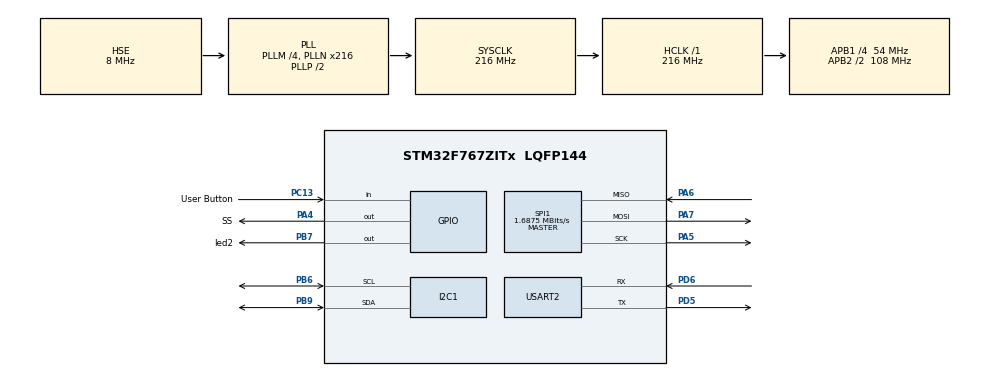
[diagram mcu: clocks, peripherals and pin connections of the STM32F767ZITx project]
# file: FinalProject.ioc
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Dma.Request0=USART2_TX
Dma.Request1=SPI1_RX
Dma.Request2=SPI1_TX
Dma.SPI1_RX.1.Direction=DMA_PERIPH_TO_MEMORY
Dma.SPI1_RX.1.FIFOMode=DMA_FIFOMODE_DISABLE
Dma.SPI1_RX.1.Instance=DMA2_Stream0
Dma.SPI1_RX.1.MemDataAlignment=DMA_MDATAALIGN_BYTE
Dma.SPI1_RX.1.MemInc=DMA_MINC_ENABLE
Dma.SPI1_RX.1.Mode=DMA_NORMAL
Dma.SPI1_RX.1.PeriphDataAlignment=DMA_PDATAALIGN_BYTE
Dma.SPI1_RX.1.PeriphInc=DMA_PINC_DISABLE
Dma.SPI1_RX.1.Priority=DMA_PRIORITY_LOW
Dma.SPI1_TX.2.Direction=DMA_MEMORY_TO_PERIPH
Dma.SPI1_TX.2.FIFOMode=DMA_FIFOMODE_DISABLE
Dma.SPI1_TX.2.Instance=DMA2_Stream3
Dma.SPI1_TX.2.MemDataAlignment=DMA_MDATAALIGN_BYTE
Dma.SPI1_TX.2.MemInc=DMA_MINC_ENABLE
Dma.SPI1_TX.2.Mode=DMA_NORMAL
Dma.SPI1_TX.2.PeriphDataAlignment=DMA_PDATAALIGN_BYTE
Dma.SPI1_TX.2.PeriphInc=DMA_PINC_DISABLE
Dma.SPI1_TX.2.Priority=DMA_PRIORITY_LOW
Dma.USART2_TX.0.Direction=DMA_MEMORY_TO_PERIPH
Dma.USART2_TX.0.FIFOMode=DMA_FIFOMODE_DISABLE
Dma.USART2_TX.0.Instance=DMA1_Stream6
Dma.USART2_TX.0.MemDataAlignment=DMA_MDATAALIGN_BYTE
Dma.USART2_TX.0.MemInc=DMA_MINC_ENABLE
Dma.USART2_TX.0.Mode=DMA_NORMAL
Dma.USART2_TX.0.PeriphDataAlignment=DMA_PDATAALIGN_BYTE
Dma.USART2_TX.0.PeriphInc=DMA_PINC_DISABLE
Dma.USART2_TX.0.Priority=DMA_PRIORITY_LOW
I2C1.Timing=0x20404768
Mcu.Family=STM32F7
Mcu.Name=STM32F767ZITx
Mcu.Package=LQFP144
NVIC.DMA1_Stream6_IRQn=true\:0\:0\:false\:false\:true\:false\:true
NVIC.DMA2_Stream0_IRQn=true\:0\:0\:false\:false\:true\:false\:true
NVIC.DMA2_Stream3_IRQn=true\:0\:0\:false\:false\:true\:false\:true
NVIC.PriorityGroup=NVIC_PRIORITYGROUP_4
NVIC.USART2_IRQn=true\:0\:0\:false\:false\:true\:true\:true
PA4.GPIO_Label=SS
PA4.Signal=GPIO_Output
PA5.Mode=Full_Duplex_Master
PA5.Signal=SPI1_SCK
PA6.Mode=Full_Duplex_Master
PA6.Signal=SPI1_MISO
PA7.Mode=Full_Duplex_Master
PA7.Signal=SPI1_MOSI
PB6.Mode=I2C
PB6.Signal=I2C1_SCL
PB7.GPIO_Label=led2
PB7.Signal=GPIO_Output
PB9.Mode=I2C
PB9.Signal=I2C1_SDA
PC13.GPIO_Label=User Button
PC13.Signal=GPIO_Input
PD5.Mode=Asynchronous
PD5.Signal=USART2_TX
PD6.Mode=Asynchronous
PD6.Signal=USART2_RX
PH0/OSC_IN.Mode=HSE-External-Oscillator
PH0/OSC_IN.Signal=RCC_OSC_IN
PH1/OSC_OUT.Mode=HSE-External-Oscillator
PH1/OSC_OUT.Signal=RCC_OSC_OUT
ProjectManager.HeapSize=0x200
ProjectManager.StackSize=0x400
ProjectManager.TargetToolchain=MDK-ARM V5.32
RCC.AHBFreq_Value=216000000
RCC.APB1CLKDivider=RCC_HCLK_DIV4
RCC.APB1Freq_Value=54000000
RCC.APB1TimFreq_Value=108000000
RCC.APB2CLKDivider=RCC_HCLK_DIV2
RCC.APB2Freq_Value=108000000
RCC.APB2TimFreq_Value=216000000
RCC.CortexFreq_Value=216000000
RCC.HCLKFreq_Value=216000000
RCC.HSE_VALUE=8000000
RCC.HSI_VALUE=16000000
RCC.LSE_VALUE=32768
RCC.PLLM=4
RCC.PLLN=216
RCC.PLLSourceVirtual=RCC_PLLSOURCE_HSE
RCC.SYSCLKFreq_VALUE=216000000
RCC.SYSCLKSource=RCC_SYSCLKSOURCE_PLLCLK
RCC.USBFreq_Value=216000000
RCC.VCOOutputFreq_Value=432000000
SPI1.BaudRatePrescaler=SPI_BAUDRATEPRESCALER_64
SPI1.CalculateBaudRate=1.6875 MBits/s
SPI1.DataSize=SPI_DATASIZE_8BIT
SPI1.Direction=SPI_DIRECTION_2LINES
SPI1.Mode=SPI_MODE_MASTER
SPI1.VirtualType=VM_MASTER
USART2.VirtualMode-Asynchronous=VM_ASYNC
board=custom

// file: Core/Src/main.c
/* USER CODE BEGIN Header */
/**
  ******************************************************************************
  * @file           : main.c
  * @brief Основной файл программы, включающий в себя функции инициализации периферии, основной цикл программы и обработку данных.
  *
  * Этот файл содержит в себе основной цикл программы, инициализацию всех необходимых периферийных устройств и обработку данных,
  * получаемых от акселерометра ADXL362 и передачу данных по UART.
  */
/* USER CODE END Header */
#include "main.h"

/* USER CODE BEGIN Includes */
#include "ADXL362.h"
#include "ssd1306.h"
#include "ssd1306_fonts.h"
#include <stdlib.h>
/* USER CODE END Includes */

/* USER CODE BEGIN PD */
///Размер буфера для передачи по UART
#define UART_TX_BUFFER_SIZE  7

/* USER CODE END PD */

I2C_HandleTypeDef hi2c1;

SPI_HandleTypeDef hspi1;
DMA_HandleTypeDef hdma_spi1_rx;
DMA_HandleTypeDef hdma_spi1_tx;

UART_HandleTypeDef huart2;
DMA_HandleTypeDef hdma_usart2_tx;

/* USER CODE BEGIN PV */

/// Флаг успешной передачи данных по SPI (передача завершена). Объявлена в файле ADXL362.c
extern bool spiTxComplete;
/// Флаг успешного приема данных по SPI (прием завершен). Объявлена в файле ADXL362.c
extern bool spiRxComplete;
/// Флаг успешной передачи данных оп UART.
bool uartTxComplete = false;

uint8_t rightXOut[] = {82, 73, 71, 72, 84, 00};
uint8_t leftXOut[] = {76, 69, 70, 84, 00, 00};
uint8_t upYOut[] = {89, 32, 85, 80, 00, 00};
uint8_t downYOut[] = {89, 32, 68, 79, 87, 78};
uint8_t upZOut[] = {90, 32, 85, 80, 00, 00};
uint8_t downZOut[] = {90, 32, 68, 79, 87, 78};
uint8_t* uartOut[6] = {rightXOut,leftXOut,upYOut,downYOut,upZOut,downZOut}; ///<Для вывода по UART>

/// Буфер XDATA для передачи по UART
uint8_t xBuff[UART_TX_BUFFER_SIZE] = "X: ";
/// Буфер YDATA для передачи по UART
uint8_t yBuff[UART_TX_BUFFER_SIZE] = "Y: ";
/// Буфер ZDATA для передачи по UART
uint8_t zBuff[UART_TX_BUFFER_SIZE] = "Z: ";
/// Финальный буфер для передачи по UART, содержащий данные из xBuff, yBuff и zBuff
uint8_t txBuff[UART_TX_BUFFER_SIZE*3+2];
/// Индекс буфера передачи данных по UART
uint8_t index_b = 0;

/* USER CODE END PV */

void SystemClock_Config(void);
static void MX_GPIO_Init(void);
static void MX_DMA_Init(void);
static void MX_I2C1_Init(void);
static void MX_SPI1_Init(void);
static void MX_USART2_UART_Init(void);
/* USER CODE BEGIN PFP */
void OLED_Move_Up_Z(SSD1306_COLOR);
void OLED_Move_Down_Z(SSD1306_COLOR);
void OLED_Move_Up(SSD1306_COLOR);
void OLED_Move_Down(SSD1306_COLOR);
void OLED_Move_Right(SSD1306_COLOR);
void OLED_Move_Left(SSD1306_COLOR);
void CreateTxBuff(uint8_t*, uint8_t*, uint8_t* ,uint8_t* );
/* USER CODE END PFP */

/* USER CODE BEGIN 0 */
/**
 * @brief      Проверка работоспособности платы
 *
 */
  void ping(){
  HAL_GPIO_WritePin(GPIOB, GPIO_PIN_7, GPIO_PIN_SET);
  HAL_Delay(100);
  HAL_GPIO_WritePin(GPIOB, GPIO_PIN_7, GPIO_PIN_RESET);
  HAL_Delay(100);
}
/* USER CODE END 0 */

int main(void)
{

  /* MCU Configuration--------------------------------------------------------*/

  /* Reset of all peripherals, Initializes the Flash interface and the Systick. */
  HAL_Init();

  /* Configure the system clock */
  SystemClock_Config();

  /* Initialize all configured peripherals */
  MX_GPIO_Init();
  MX_DMA_Init();
  MX_I2C1_Init();
  MX_SPI1_Init();
  MX_USART2_UART_Init();
  /* USER CODE BEGIN 2 */
  ssd1306_Init(); // Инициализация OLED дисплея
  ADXL362_Init(&hspi1,&hdma_spi1_rx,&hdma_spi1_tx); // Инициализация акселерометра ADXL362

  ping();
  ping();
  // Объявление и инициализация переменных для хранения данных акселерометра
  //uint16_t uint16x = 0,uint16y = 0,uint16z = 0;
  uint8_t uint8x = 0,uint8y = 0,uint8z = 0;
  uint8_t uint8x1 = 0,uint8y1 = 0,uint8z1 = 0;
  int8_t delta = 0;
  uint8_t flag_xyz;

  /* USER CODE END 2 */

  /* Infinite loop */
  /* USER CODE BEGIN WHILE */

  while (1)
  {

    HAL_Delay(500);
    // Чтение данных с регистрова ADXL362
    ADXL362_ReadXYZ_8(&uint8x,&uint8y,&uint8z);

    // Определение оси с наибольшим изменением
    delta = 0;
    if(abs(uint8x - uint8x1) > abs(uint8y - uint8y1) && abs(uint8x - uint8x1) > abs(uint8z - uint8z1)){
      flag_xyz = 0;
      delta = uint8x - uint8x1;
    } else
    if(abs(uint8y - uint8y1) > abs(uint8x - uint8x1) && abs(uint8y - uint8y1) > abs(uint8z - uint8z1)){
      flag_xyz = 1;
      delta = uint8y - uint8y1;
    } else {
      flag_xyz = 2;
      delta = (uint8z - uint8z1)*5;
    }
    index_b = 6;
    // В зависимости от разницы начальной и конечной координат рисуем стрелки / кружочки
    if(delta < -10 || delta > 10){
    switch(flag_xyz){

      // Изменения по оси X
      case 0:
          if(delta > 0){
          ssd1306_FillRectangle(0,0,128,64,Black);
          OLED_Move_Right(White);
          index_b = 0;
          }
          else{
          ssd1306_FillRectangle(0,0,128,64,Black);
          OLED_Move_Left(White);
          index_b = 1;
          }
    break;

      // Изменения по оси Y
      case 1:
          if(delta > 0){
          ssd1306_FillRectangle(0,0,128,64,Black);
          OLED_Move_Up(White);
          index_b = 2;
          }
          else{
          ssd1306_FillRectangle(0,0,128,64,Black);
          OLED_Move_Down(White);
          index_b = 3;
          }
          break;

      // Изменения по оси Z
      case 2:
        if(delta > 0){
          ssd1306_FillRectangle(0,0,128,64,Black);
          OLED_Move_Up_Z(White);
          index_b = 4;
          }
          else{
          ssd1306_FillRectangle(0,0,128,64,Black);
          OLED_Move_Down_Z(White);
          index_b = 5;
          }
          break;
      }
    }
        else{
         ssd1306_FillRectangle(0,0,128,64,Black);
        }

    ssd1306_UpdateScreen(); //Обновление экрана

        if(index_b!=6){
          HAL_UART_Transmit_DMA(&huart2, uartOut[index_b], 6);
        }

    //ADXL362_ReadXYZ_16(&uint16x,&uint16y,&uint16z);
    /*
    index_b=5; // Индекс для заполнения массива

    // Цикл, который заполняет массивы из которых соберём массив для передачи по UART
    do
    {
      xBuff[index_b]=uint8x%10 + 48;  // Запись в ASCII
      yBuff[index_b]=uint8y%10 + 48;
      zBuff[index_b]=uint8z%10 + 48;
      if(uint8x!=0){
        uint8x/=10;
      }
      if(uint8y!=0){
        uint8y/=10;
      }
      if(uint8z!=0){
        uint8z/=10;
      }
      index_b--;
    }while(uint8x || uint8y || uint8z);

    xBuff[6] = ';';
    yBuff[6] = ';';
    zBuff[6] = ' ';

    CreateTxBuff(xBuff,yBuff,zBuff,txBuff); //Создаём массив для передачи

    HAL_UART_Transmit_DMA(&huart2, txBuff, UART_TX_BUFFER_SIZE*3+2);  //Передаём получившийся массив
    */
    ADXL362_ReadXYZ_8(&uint8x1,&uint8y1,&uint8z1);  //Считываем данные с акселерометра

    /* USER CODE END WHILE */

  }
}

void SystemClock_Config(void)
{
  RCC_OscInitTypeDef RCC_OscInitStruct = {0};
  RCC_ClkInitTypeDef RCC_ClkInitStruct = {0};
  RCC_PeriphCLKInitTypeDef PeriphClkInitStruct = {0};

  /** Configure the main internal regulator output voltage
  */
  __HAL_RCC_PWR_CLK_ENABLE();
  __HAL_PWR_VOLTAGESCALING_CONFIG(PWR_REGULATOR_VOLTAGE_SCALE1);
  /** Initializes the RCC Oscillators according to the specified parameters
  * in the RCC_OscInitTypeDef structure.
  */
  RCC_OscInitStruct.OscillatorType = RCC_OSCILLATORTYPE_HSE;
  RCC_OscInitStruct.HSEState = RCC_HSE_ON;
  RCC_OscInitStruct.PLL.PLLState = RCC_PLL_ON;
  RCC_OscInitStruct.PLL.PLLSource = RCC_PLLSOURCE_HSE;
  RCC_OscInitStruct.PLL.PLLM = 4;
  RCC_OscInitStruct.PLL.PLLN = 216;
  RCC_OscInitStruct.PLL.PLLP = RCC_PLLP_DIV2;
  RCC_OscInitStruct.PLL.PLLQ = 2;
  RCC_OscInitStruct.PLL.PLLR = 2;
  if (HAL_RCC_OscConfig(&RCC_OscInitStruct) != HAL_OK)
  {
    Error_Handler();
  }
  /** Activate the Over-Drive mode
  */
  if (HAL_PWREx_EnableOverDrive() != HAL_OK)
  {
    Error_Handler();
  }
  /** Initializes the CPU, AHB and APB buses clocks
  */
  RCC_ClkInitStruct.ClockType = RCC_CLOCKTYPE_HCLK|RCC_CLOCKTYPE_SYSCLK
                              |RCC_CLOCKTYPE_PCLK1|RCC_CLOCKTYPE_PCLK2;
  RCC_ClkInitStruct.SYSCLKSource = RCC_SYSCLKSOURCE_PLLCLK;
  RCC_ClkInitStruct.AHBCLKDivider = RCC_SYSCLK_DIV1;
  RCC_ClkInitStruct.APB1CLKDivider = RCC_HCLK_DIV4;
  RCC_ClkInitStruct.APB2CLKDivider = RCC_HCLK_DIV2;

  if (HAL_RCC_ClockConfig(&RCC_ClkInitStruct, FLASH_LATENCY_7) != HAL_OK)
  {
    Error_Handler();
  }
  PeriphClkInitStruct.PeriphClockSelection = RCC_PERIPHCLK_USART2|RCC_PERIPHCLK_I2C1;
  PeriphClkInitStruct.Usart2ClockSelection = RCC_USART2CLKSOURCE_PCLK1;
  PeriphClkInitStruct.I2c1ClockSelection = RCC_I2C1CLKSOURCE_PCLK1;
  if (HAL_RCCEx_PeriphCLKConfig(&PeriphClkInitStruct) != HAL_OK)
  {
    Error_Handler();
  }
}

static void MX_I2C1_Init(void)
{

  hi2c1.Instance = I2C1;
  hi2c1.Init.Timing = 0x20404768;
  hi2c1.Init.OwnAddress1 = 0;
  hi2c1.Init.AddressingMode = I2C_ADDRESSINGMODE_7BIT;
  hi2c1.Init.DualAddressMode = I2C_DUALADDRESS_DISABLE;
  hi2c1.Init.OwnAddress2 = 0;
  hi2c1.Init.OwnAddress2Masks = I2C_OA2_NOMASK;
  hi2c1.Init.GeneralCallMode = I2C_GENERALCALL_DISABLE;
  hi2c1.Init.NoStretchMode = I2C_NOSTRETCH_DISABLE;
  if (HAL_I2C_Init(&hi2c1) != HAL_OK)
  {
    Error_Handler();
  }
  /** Configure Analogue filter
  */
  if (HAL_I2CEx_ConfigAnalogFilter(&hi2c1, I2C_ANALOGFILTER_ENABLE) != HAL_OK)
  {
    Error_Handler();
  }
  /** Configure Digital filter
  */
  if (HAL_I2CEx_ConfigDigitalFilter(&hi2c1, 0) != HAL_OK)
  {
    Error_Handler();
  }

}

static void MX_SPI1_Init(void)
{

  /* SPI1 parameter configuration*/
  hspi1.Instance = SPI1;
  hspi1.Init.Mode = SPI_MODE_MASTER;
  hspi1.Init.Direction = SPI_DIRECTION_2LINES;
  hspi1.Init.DataSize = SPI_DATASIZE_8BIT;
  hspi1.Init.CLKPolarity = SPI_POLARITY_LOW;
  hspi1.Init.CLKPhase = SPI_PHASE_1EDGE;
  hspi1.Init.NSS = SPI_NSS_SOFT;
  hspi1.Init.BaudRatePrescaler = SPI_BAUDRATEPRESCALER_64;
  hspi1.Init.FirstBit = SPI_FIRSTBIT_MSB;
  hspi1.Init.TIMode = SPI_TIMODE_DISABLE;
  hspi1.Init.CRCCalculation = SPI_CRCCALCULATION_DISABLE;
  hspi1.Init.CRCPolynomial = 7;
  hspi1.Init.CRCLength = SPI_CRC_LENGTH_DATASIZE;
  hspi1.Init.NSSPMode = SPI_NSS_PULSE_ENABLE;
  if (HAL_SPI_Init(&hspi1) != HAL_OK)
  {
    Error_Handler();
  }

}

static void MX_USART2_UART_Init(void)
{

  huart2.Instance = USART2;
  huart2.Init.BaudRate = 115200;
  huart2.Init.WordLength = UART_WORDLENGTH_8B;
  huart2.Init.StopBits = UART_STOPBITS_1;
  huart2.Init.Parity = UART_PARITY_NONE;
  huart2.Init.Mode = UART_MODE_TX_RX;
  huart2.Init.HwFlowCtl = UART_HWCONTROL_NONE;
  huart2.Init.OverSampling = UART_OVERSAMPLING_16;
  huart2.Init.OneBitSampling = UART_ONE_BIT_SAMPLE_DISABLE;
  huart2.AdvancedInit.AdvFeatureInit = UART_ADVFEATURE_NO_INIT;
  if (HAL_UART_Init(&huart2) != HAL_OK)
  {
    Error_Handler();
  }

}

static void MX_DMA_Init(void)
{

  /* DMA controller clock enable */
  __HAL_RCC_DMA1_CLK_ENABLE();
  __HAL_RCC_DMA2_CLK_ENABLE();

  /* DMA interrupt init */
  /* DMA1_Stream6_IRQn interrupt configuration */
  HAL_NVIC_SetPriority(DMA1_Stream6_IRQn, 0, 0);
  HAL_NVIC_EnableIRQ(DMA1_Stream6_IRQn);
  /* DMA2_Stream0_IRQn interrupt configuration */
  HAL_NVIC_SetPriority(DMA2_Stream0_IRQn, 0, 0);
  HAL_NVIC_EnableIRQ(DMA2_Stream0_IRQn);
  /* DMA2_Stream3_IRQn interrupt configuration */
  HAL_NVIC_SetPriority(DMA2_Stream3_IRQn, 0, 0);
  HAL_NVIC_EnableIRQ(DMA2_Stream3_IRQn);

}

static void MX_GPIO_Init(void)
{
  GPIO_InitTypeDef GPIO_InitStruct = {0};

  /* GPIO Ports Clock Enable */
  __HAL_RCC_GPIOC_CLK_ENABLE();
  __HAL_RCC_GPIOH_CLK_ENABLE();
  __HAL_RCC_GPIOA_CLK_ENABLE();
  __HAL_RCC_GPIOD_CLK_ENABLE();
  __HAL_RCC_GPIOB_CLK_ENABLE();

  /*Configure GPIO pin Output Level */
  HAL_GPIO_WritePin(SS_GPIO_Port, SS_Pin, GPIO_PIN_RESET);

  /*Configure GPIO pin Output Level */
  HAL_GPIO_WritePin(led2_GPIO_Port, led2_Pin, GPIO_PIN_RESET);

  /*Configure GPIO pin : User_Button_Pin */
  GPIO_InitStruct.Pin = User_Button_Pin;
  GPIO_InitStruct.Mode = GPIO_MODE_INPUT;
  GPIO_InitStruct.Pull = GPIO_NOPULL;
  HAL_GPIO_Init(User_Button_GPIO_Port, &GPIO_InitStruct);

  /*Configure GPIO pin : SS_Pin */
  GPIO_InitStruct.Pin = SS_Pin;
  GPIO_InitStruct.Mode = GPIO_MODE_OUTPUT_PP;
  GPIO_InitStruct.Pull = GPIO_NOPULL;
  GPIO_InitStruct.Speed = GPIO_SPEED_FREQ_LOW;
  HAL_GPIO_Init(SS_GPIO_Port, &GPIO_InitStruct);

  /*Configure GPIO pin : led2_Pin */
  GPIO_InitStruct.Pin = led2_Pin;
  GPIO_InitStruct.Mode = GPIO_MODE_OUTPUT_PP;
  GPIO_InitStruct.Pull = GPIO_NOPULL;
  GPIO_InitStruct.Speed = GPIO_SPEED_FREQ_LOW;
  HAL_GPIO_Init(led2_GPIO_Port, &GPIO_InitStruct);

}

/* USER CODE BEGIN 4 */
/**
 * @brief  Собирает буфер для передачи данных по USART.
 * @note   На вход приходят 3 переменные (значения регистров XDATA, YDATA, ZDATA). На выходе получаем регистр размером UART_TX_BUFFER_SIZE*3+2
 * @param[in]  xb    Указатель на буфер с данными XDATA.
 * @param[in]  yb    Указатель на буфер с данными YDATA.
 * @param[in]  zb    Указатель на буфер с данными ZDATA.
 * @param[in,out]  tb  Указатель на буфер для передачи данных.
 */
void CreateTxBuff(uint8_t* xb,uint8_t* yb,uint8_t* zb,uint8_t* tb){
  for(int i = 0; i < UART_TX_BUFFER_SIZE; i++){
    tb[i] = xb[i];
    tb[i+UART_TX_BUFFER_SIZE] = yb[i];
    tb[i+UART_TX_BUFFER_SIZE*2] = zb[i];
  }
  tb[UART_TX_BUFFER_SIZE*3] = '\r';
  tb[UART_TX_BUFFER_SIZE*3+1] = '\n';
}

/**
 * @brief  Обратный вызов по завершению передачи половины данных по UART.
 *
 * @param[in]  huart  Указатель на структуру UART_HandleTypeDef
 */
void HAL_UART_TxHalfCpltCallback(UART_HandleTypeDef *huart){

}

/**
 * @brief  Обратный вызов по завершению передачи данных по UART.
 *
 * @param[in]  huart  Указатель на структуру UART_HandleTypeDef
 */
void HAL_UART_TxCpltCallback(UART_HandleTypeDef *huart){
  if(huart == &huart2){
    //uartTxComplete = true;
  }
}

/**
 * @brief  Обратный вызов при ошибке передачи по UART.
 *
 * @param[in]  huart  Указатель на структуру UART_HandleTypeDef
 */
void HAL_UART_ErrorCallback(UART_HandleTypeDef *huart)
{
  if (huart == &huart2)
        {
                uint32_t er = HAL_UART_GetError(&huart2);

                if (er & HAL_UART_ERROR_PE)
                {
                        HAL_UART_Transmit(&huart2, (uint8_t*) "ERR_Callbck_UART - Parity error\n", 31, 1000);
                        __HAL_UART_CLEAR_PEFLAG(&huart2);
                }
                if (er & HAL_UART_ERROR_NE)
                {
                        HAL_UART_Transmit(&huart2, (uint8_t*) "ERR_Callbck_UART - Noise error\n", 30, 1000);
                        __HAL_UART_CLEAR_NEFLAG(&huart2);
                }
                if (er & HAL_UART_ERROR_FE)
                {
                        HAL_UART_Transmit(&huart2, (uint8_t*) "ERR_Callbck_UART - Frame error\n", 30, 1000);
                        __HAL_UART_CLEAR_FEFLAG(&huart2);
                }
                if (er & HAL_UART_ERROR_ORE)
                {
                        HAL_UART_Transmit(&huart2, (uint8_t*) "ERR_Callbck_UART - Overrun error\n", 32, 1000);
                        __HAL_UART_CLEAR_OREFLAG(huart);
                }
                if (er & HAL_UART_ERROR_DMA)
                {
                        HAL_UART_Transmit(&huart2, (uint8_t*) "ERR_Callbck_UART - DMA transfer error\n", 38, 1000);
                        __HAL_UART_CLEAR_NEFLAG(&huart2);
                }
                huart->ErrorCode = HAL_UART_ERROR_NONE;
        }
}

/**
 * @brief  Обратный вызов при ошибке передачи по SPI.
 *
 * @param[in]  hspi  Указатель на структуру SPI_HandleTypeDef
 */
void HAL_SPI_ErrorCallback(SPI_HandleTypeDef* hspi)
{
  ping();
  if (hspi == &hspi1)
    {
        uint32_t er = HAL_SPI_GetError(hspi);

        if (er & HAL_SPI_ERROR_MODF)
        {
            HAL_UART_Transmit(&huart2, (uint8_t *)"ERR_Callback_SPI - Mode Fault error\n", 35, 1000);
            __HAL_SPI_CLEAR_MODFFLAG(hspi);
        }
        if (er & HAL_SPI_ERROR_CRC)
        {
            HAL_UART_Transmit(&huart2, (uint8_t *)"ERR_Callback_SPI - CRC error\n", 28, 1000);
            __HAL_SPI_CLEAR_CRCERRFLAG(hspi);
        }
        if (er & HAL_SPI_ERROR_OVR)
        {
            HAL_UART_Transmit(&huart2, (uint8_t *)"ERR_Callback_SPI - Overrun error\n", 32, 1000);
            __HAL_SPI_CLEAR_OVRFLAG(hspi);
        }
        if (er & HAL_SPI_ERROR_FRE)
        {
            HAL_UART_Transmit(&huart2, (uint8_t *)"ERR_Callback_SPI - Frame Format error\n", 37, 1000);
            __HAL_SPI_CLEAR_FREFLAG(hspi);
        }
        if (er & HAL_SPI_ERROR_DMA)
        {
            HAL_UART_Transmit(&huart2, (uint8_t *)"ERR_Callback_SPI - DMA transfer error\n", 37, 1000);
            // Дополнительные действия при ошибке DMA могут быть добавлены здесь при необходимости
        }

        // Сброс всех флагов ошибок
        hspi->ErrorCode = HAL_SPI_ERROR_NONE;

        }
}

/**
 * @brief  Обратный вызов по завершению передачи данных по SPI.
 *
 * @param[in]  hspi  Указатель на структуру SPI_HandleTypeDef
 */
void HAL_SPI_TxCpltCallback(SPI_HandleTypeDef *hspi)
{
    if (hspi == &hspi1)
    {
        spiTxComplete = true;
    }
}

/**
 * @brief  Обратный вызов по завершению приема данных по SPI.
 *
 * @param[in]  hspi  Указатель на структуру SPI_HandleTypeDef
 */
void HAL_SPI_RxCpltCallback(SPI_HandleTypeDef *hspi)
{
    if (hspi == &hspi1)
    {
        spiRxComplete = true;
    }
}

/**
 * @brief  Обратный вызов по завершению приема половины данных по SPI.
 *
 * @param[in]  hspi  Указатель на структуру SPI_HandleTypeDef
 */
void HAL_SPI_TxHalfCpltCallback	(	SPI_HandleTypeDef * 	hspi	)	{

}

/**
 * @brief  Обратный вызов по завершению передачи половины данных по SPI.
 *
 * @param[in]  hspi  Указатель на структуру SPI_HandleTypeDef
 */
void HAL_SPI_RxHalfCpltCallback	(	SPI_HandleTypeDef * 	hspi	)	{

}

/**
 * @brief  Отображение круга на OLED дисплее для перемещения вверх по оси Z.
 *
 * @param[in]  color  Цвет круга
 */
void OLED_Move_Up_Z(SSD1306_COLOR color){
  ssd1306_DrawCircle(64,32,1,color);
  ssd1306_DrawCircle(64,32,10,color);
}

/**
 * @brief  Отображение линий на OLED дисплее для перемещения вниз по оси Z.
 *
 * @param[in]  color  Цвет линий
 */
void OLED_Move_Down_Z(SSD1306_COLOR color){
  ssd1306_Line(32,16, 96,48,White);
  ssd1306_Line(32,48, 96,16,White);
}

/**
 * @brief  Отображение линий на OLED дисплее для перемещения вверх.
 *
 * @param[in]  color  Цвет линий
 */
void OLED_Move_Up(SSD1306_COLOR color){
  ssd1306_Line(64,0, 64,64,color);
  ssd1306_Line(65,0, 65,65,color);
  ssd1306_Line(64,0, 32,32,color);
  ssd1306_Line(65,0, 96,32,color);
}

/**
 * @brief  Отображение линий на OLED дисплее для перемещения вниз.
 *
 * @param[in]  color  Цвет линий
 */
void OLED_Move_Down(SSD1306_COLOR color){
  ssd1306_Line(64,0, 64,64,color);
  ssd1306_Line(65,0, 65,65,color);
  ssd1306_Line(64,64, 32,32,color);
  ssd1306_Line(65,65, 96,32,color);
}

/**
 * @brief  Отображение линий на OLED дисплее для перемещения вправо.
 *
 * @param[in]  color  Цвет линий
 */
void OLED_Move_Right(SSD1306_COLOR color){
  ssd1306_Line(0,32, 128,32,color);
  ssd1306_Line(0,31, 128,31,color);
  ssd1306_Line(128,32, 96,16,color);
  ssd1306_Line(128,31, 96,48,color);
}

/**
 * @brief  Отображение линий на OLED дисплее для перемещения влево.
 *
 * @param[in]  color  Цвет линий
 */
void OLED_Move_Left(SSD1306_COLOR color){
  ssd1306_Line(0,32, 128,32,color);
  ssd1306_Line(0,31, 128,31,color);
  ssd1306_Line(0,32, 32,16,color);
  ssd1306_Line(0,31, 32,48,color);
}

/* USER CODE END 4 */

void Error_Handler(void)
{
  __disable_irq();
  while (1)
  {
  }
}

/************************ (C) COPYRIGHT STMicroelectronics *****END OF FILE****/
